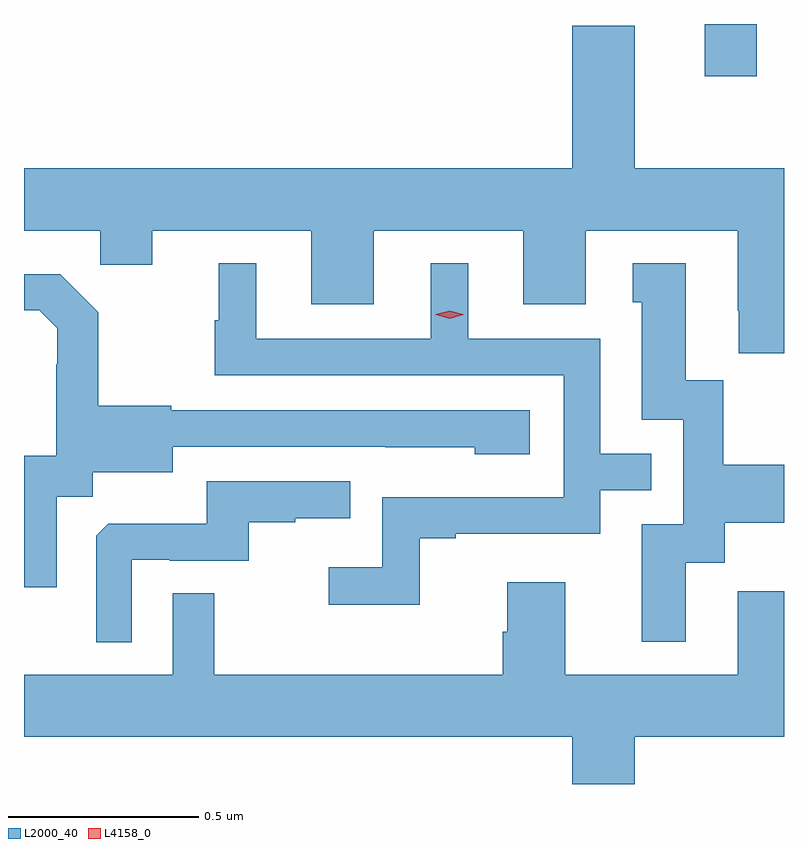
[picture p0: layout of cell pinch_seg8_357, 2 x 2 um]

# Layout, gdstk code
import gdstk
lib = gdstk.Library(unit=1e-6, precision=1e-09)
def R(c, l, rs):  # rectangles x0, y0, x1, y1
    for r in rs: c.add(gdstk.rectangle(r[:2], r[2:], *l))
def P(c, l, *ps):  # polygons
    for p in ps: c.add(gdstk.Polygon(p, *l))
L2000_40 = (2000, 40)
L4158_0 = (4158, 0)

pinch_seg8_357 = lib.new_cell('pinch_seg8_357')
R(pinch_seg8_357, L2000_40, [(477.044,1151.538,477.181,1151.676)])
P(pinch_seg8_357, L2000_40, [(477.253,1151.296),(476.86,1151.296),(476.86,1151.671),(476.696,1151.671),(476.696,1151.296),(475.253,1151.296),(475.253,1151.132),(475.453,1151.132),(475.453,1151.042),(475.591,1151.042),(475.591,1151.132),(476.009,1151.132),(476.009,1150.938),(476.173,1150.938),(476.173,1151.132),(476.567,1151.132),(476.567,1150.938),(476.731,1150.938),(476.731,1151.132),(477.131,1151.132),(477.131,1150.921),(477.134,1150.921),(477.134,1150.809),(477.253,1150.809)],
  [(476.995,1150.258),(477.097,1150.258),(477.097,1150.364),(477.253,1150.364),(477.253,1150.516),(477.093,1150.516),(477.093,1150.739),(476.995,1150.739),(476.995,1151.047),(476.855,1151.047),(476.855,1150.944),(476.879,1150.944),(476.879,1150.635),(476.988,1150.635),(476.988,1150.359),(476.879,1150.359),(476.879,1150.05),(476.995,1150.05)],
  [(476.295,1150.323),(476.389,1150.323),(476.389,1150.335),(476.769,1150.335),(476.769,1150.449),(476.903,1150.449),(476.903,1150.545),(476.769,1150.545),(476.769,1150.848),(476.422,1150.848),(476.422,1151.047),(476.324,1151.047),(476.324,1150.848),(475.864,1150.848),(475.864,1151.047),(475.766,1151.047),(475.766,1150.896),(475.755,1150.896),(475.755,1150.752),(476.673,1150.752),(476.673,1150.431),(476.196,1150.431),(476.196,1150.246),(476.055,1150.246),(476.055,1150.148),(476.295,1150.148)],
  [(475.339,1150.432),(475.434,1150.432),(475.434,1150.496),(475.645,1150.496),(475.645,1150.563),(476.203,1150.563),(476.203,1150.562),(476.439,1150.562),(476.439,1150.544),(476.584,1150.544),(476.584,1150.659),(475.641,1150.659),(475.641,1150.672),(475.449,1150.672),(475.449,1150.917),(475.349,1151.017),(475.253,1151.017),(475.253,1150.923),(475.293,1150.923),(475.34,1150.876),(475.34,1150.781),(475.338,1150.781),(475.338,1150.54),(475.253,1150.54),(475.253,1150.194),(475.339,1150.194)],
  [(475.536,1150.266),(475.636,1150.266),(475.636,1150.263),(475.844,1150.263),(475.844,1150.365),(475.967,1150.365),(475.967,1150.376),(476.111,1150.376),(476.111,1150.473),(475.734,1150.473),(475.734,1150.361),(475.475,1150.361),(475.443,1150.329),(475.443,1150.049),(475.536,1150.049)],
  [(476.86,1149.8),(477.253,1149.8),(477.253,1150.183),(477.131,1150.183),(477.131,1149.964),(476.677,1149.964),(476.677,1150.207),(476.525,1150.207),(476.525,1150.077),(476.513,1150.077),(476.513,1149.964),(475.753,1149.964),(475.753,1150.178),(475.644,1150.178),(475.644,1149.964),(475.253,1149.964),(475.253,1149.8),(476.696,1149.8),(476.696,1149.676),(476.86,1149.676)])
P(pinch_seg8_357, L4158_0, [(476.373,1150.901),(476.337,1150.911),(476.337,1150.911),(476.337,1150.912),(476.373,1150.921),(476.409,1150.912),(476.409,1150.911),(476.409,1150.911)])

lib.write_gds('pinch_seg8_357.gds')
